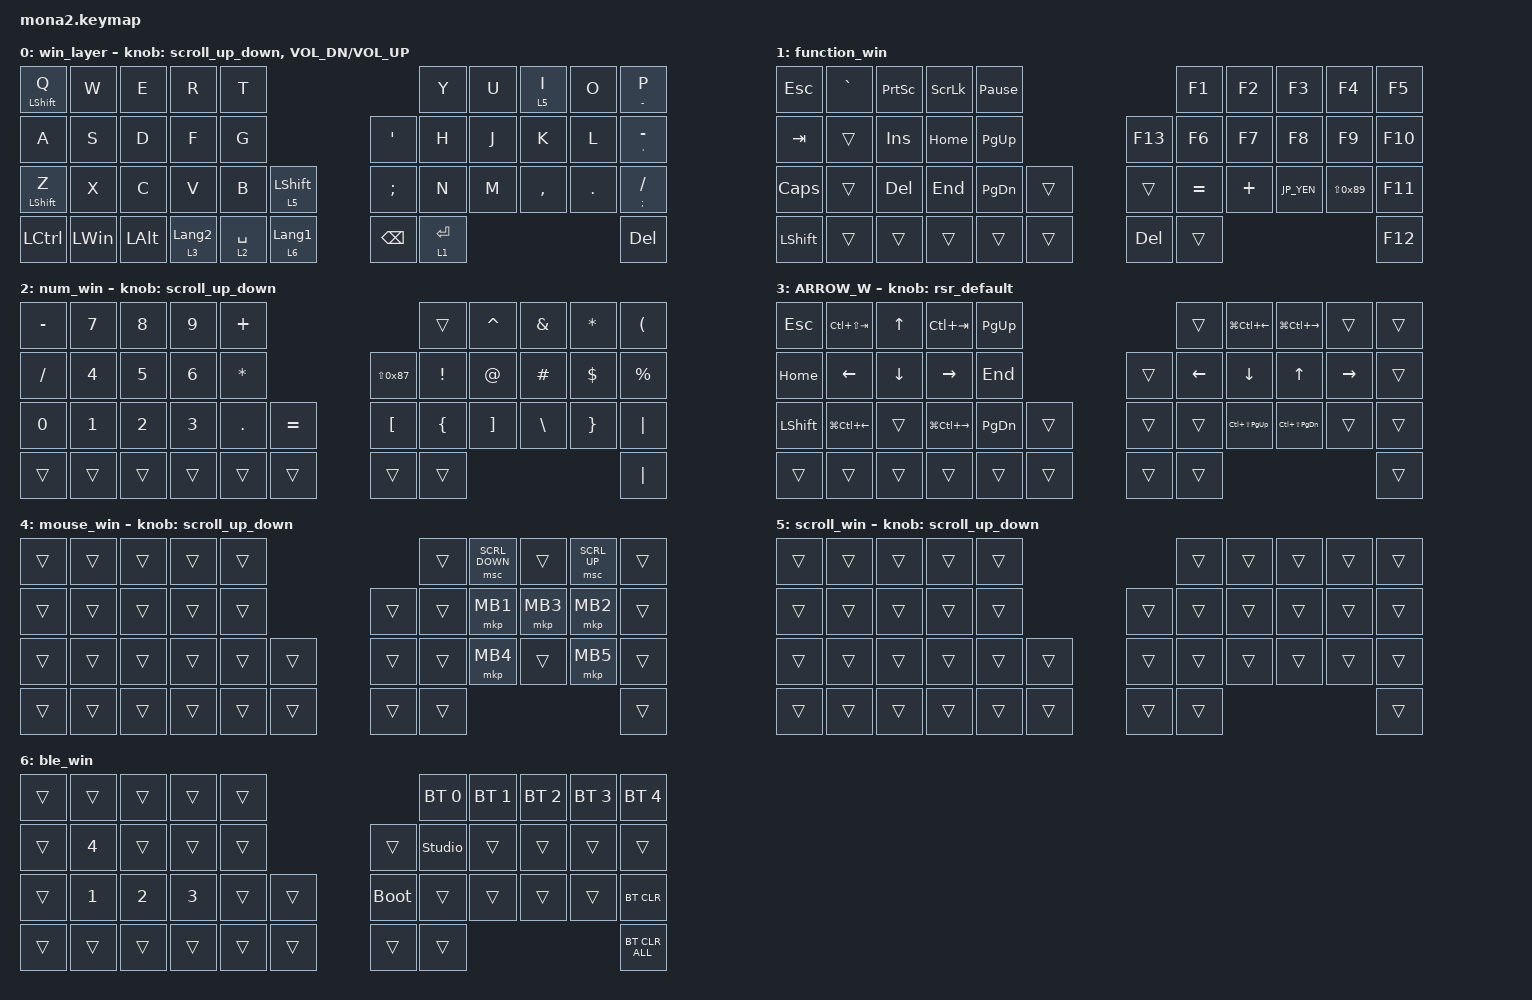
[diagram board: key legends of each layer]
#include <input/processors.dtsi>
#include <dt-bindings/zmk/input_transform.h>
#include <zephyr/dt-bindings/input/input-event-codes.h>
#include <behaviors.dtsi>
#include <dt-bindings/zmk/bt.h>
#include <dt-bindings/zmk/keys.h>
#include <dt-bindings/zmk/pointing.h>

#define ZMK_POINTING_DEFAULT_SCRL_VAL 100
#define MOUSE 4
#define SCROLL 5

// OS設定を日本語キーボードのまま使用するための変換定義

#define JP_DQUOTE       AT                // "
#define JP_AMPERSAND    CARET             // &
#define JP_QUOTE        AMPERSAND         // '
#define JP_EQUAL        UNDER             // =
#define JP_CARET        EQUAL             // ^
#define JP_YEN          0x89              // ¥
#define JP_PLUS         COLON             // +
#define JP_TILDE        PLUS              // ~
#define JP_PIPE         LS(0x89)          // |
#define JP_AT           LEFT_BRACKET      // @
#define JP_COLON        SINGLE_QUOTE      // :
#define JP_ASTERISK     DOUBLE_QUOTES     // *
#define JP_BACKQUOTE    LEFT_BRACE        // `
#define JP_UNDERSCORE   LS(0x87)          // _
#define JP_LBRACKET     RIGHT_BRACKET     // [
#define JP_RBRACKET     BACKSLASH         // ]
#define JP_LPAREN       ASTERISK          // (
#define JP_RPAREN       LEFT_PARENTHESIS  // )
#define JP_LBRACE       RIGHT_BRACE       // {
#define JP_RBRACE       PIPE              // }
#define JP_KANA         LANGUAGE_1        // かな
#define JP_EISU         LANGUAGE_2        // 英数
#define JP_HANZEN       GRAVE             // 半角/全角

&mt {
    flavor = "balanced";
    quick-tap-ms = <0>;
};

&lt {
    quick-tap-ms = <300>;
    flavor = "balanced";
};

/ {
    combos {
        compatible = "zmk,combos";

        layer4_ESC {
            bindings = <&lt 4 ESC>;
            key-positions = <39 38>;
        };

        tab {
            bindings = <&kp TAB>;
            key-positions = <11 12>;
        };

        shift_tab {
            bindings = <&kp LS(TAB)>;
            key-positions = <12 13>;
        };

        double_quotation {
            bindings = <&kp DOUBLE_QUOTES>;
            key-positions = <20 21>;
        };

        eq {
            bindings = <&kp EQUAL>;
            key-positions = <24 25>;
        };
    };

    macros {
        to_layer_0: to_layer_0 {
            compatible = "zmk,behavior-macro-one-param";
            #binding-cells = <1>;
            bindings = <&to 0 &macro_param_1to1 &kp MACRO_PLACEHOLDER>;
            label = "TO_LAYER_0";
        };
    };

    behaviors {
        lt_to_layer_0: lt_to_layer_0 {
            compatible = "zmk,behavior-hold-tap";
            label = "LAYER_TAP_TO_0";
            bindings = <&mo>, <&to_layer_0>;

            #binding-cells = <2>;
            tapping-term-ms = <200>;
        };

        scroll_up_down: mouse_wheel_up_down {
            compatible = "zmk,behavior-sensor-rotate";
            #sensor-binding-cells = <0>;
            bindings = <&msc SCRL_DOWN>, <&msc SCRL_UP>;

            tap-ms = <20>;
        };

        scroll_right_left: mouse_wheel_right_left {
            compatible = "zmk,behavior-sensor-rotate";
            #sensor-binding-cells = <0>;
            bindings = <&msc SCRL_LEFT>, <&msc SCRL_RIGHT>;

            tap-ms = <20>;
        };
    };

    keymap {
        compatible = "zmk,keymap";

        win_layer {
            bindings = <
&mt LEFT_SHIFT Q  &kp W         &kp E         &kp R                        &kp T                                                        &kp Y        &kp U  &lt 5 I    &kp O    &mt MINUS P
&kp A             &kp S         &kp D         &kp F                        &kp G                                         &kp JP_COLON   &kp H        &kp J  &kp K      &kp L    &mt JP_COLON MINUS
&mt LEFT_SHIFT Z  &kp X         &kp C         &kp V                        &kp B        &lt 5 LEFT_SHIFT                 &kp SEMICOLON  &kp N        &kp M  &kp COMMA  &kp DOT  &mt SEMICOLON SLASH
&kp LCTRL         &kp LEFT_WIN  &kp LEFT_ALT  &lt_to_layer_0 3 LANGUAGE_2  &lt 2 SPACE  &lt_to_layer_0 6 LANGUAGE_1      &kp BACKSPACE  &lt 1 ENTER                             &kp DEL
            >;

            sensor-bindings =
                <&scroll_up_down>,
                <&inc_dec_kp C_VOL_DN C_VOL_UP>;
        };

        function_win {
            bindings = <
&kp ESCAPE      &kp JP_HANZEN  &kp PRINTSCREEN  &kp SCROLLLOCK  &kp PAUSE_BREAK                       &kp F1        &kp F2        &kp F3      &kp F4       &kp F5
&kp TAB         &trans         &kp INSERT       &kp HOME        &kp PAGE_UP                  &kp F13  &kp F6        &kp F7        &kp F8      &kp F9       &kp F10
&kp CAPS        &trans         &kp DELETE       &kp END         &kp PAGE_DOWN    &trans      &trans   &kp JP_CARET  &kp JP_TILDE  &kp JP_YEN  &kp JP_PIPE  &kp F11
&kp LEFT_SHIFT  &trans         &trans           &trans          &trans           &trans      &kp DEL  &trans                                               &kp F12
            >;
        };

        num_win {
            bindings = <
&kp MINUS     &kp NUMBER_7  &kp NUMBER_8  &kp NUMBER_9  &kp PLUS                                                      &trans            &kp CARET        &kp JP_QUOTE     &kp JP_LPAREN  &kp JP_RPAREN
&kp SLASH     &kp NUMBER_4  &kp NUMBER_5  &kp NUMBER_6  &kp ASTERISK                               &kp JP_UNDERSCORE  &kp EXCLAMATION   &kp AT_SIGN      &kp HASH         &kp DOLLAR     &kp PERCENT
&kp NUMBER_0  &kp NUMBER_1  &kp NUMBER_2  &kp NUMBER_3  &kp PERIOD    &kp EQUAL                    &kp JP_AT          &kp JP_BACKQUOTE  &kp JP_LBRACKET  &kp JP_RBRACKET  &kp JP_LBRACE  &kp JP_RBRACE
&trans        &trans        &trans        &trans        &trans        &trans                       &trans             &trans                                                             &kp PIPE
            >;

            sensor-bindings = <&scroll_up_down>;
        };

    arrow_win{
      display-name = "ARROW_W";
      bindings = <
&kp ESCAPE      &kp LC(LS(TAB))         &kp UP_ARROW    &kp LC(TAB)              &kp PAGE_UP                        &trans          &kp LG(LC(LEFT_ARROW))  &kp LG(LC(RIGHT_ARROW))  &trans           &trans
&kp HOME        &kp LEFT_ARROW          &kp DOWN_ARROW  &kp RIGHT_ARROW          &kp END                    &trans  &kp LEFT_ARROW  &kp DOWN_ARROW          &kp UP_ARROW             &kp RIGHT_ARROW  &trans
&kp LEFT_SHIFT  &kp LG(LC(LEFT_ARROW))  &trans          &kp LG(LC(RIGHT_ARROW))  &kp PAGE_DOWN  &trans      &trans  &trans          &kp LC(LS(PG_UP))       &kp LC(LS(PG_DN))        &trans           &trans
&trans          &trans                  &trans          &trans                   &trans         &trans      &trans  &trans                                                                            &trans
            >;

      sensor-bindings = <&rsr_default>;
    };

        mouse_win {
            bindings = <
&trans  &trans  &trans  &trans  &trans                      &trans  &msc SCRL_DOWN  &trans    &msc SCRL_UP  &trans
&trans  &trans  &trans  &trans  &trans              &trans  &trans  &mkp MB1        &mkp MB3  &mkp MB2      &trans
&trans  &trans  &trans  &trans  &trans  &trans      &trans  &trans  &mkp MB4        &trans    &mkp MB5      &trans
&trans  &trans  &trans  &trans  &trans  &trans      &trans  &trans                                          &trans
            >;

            sensor-bindings = <&scroll_up_down>;
        };

        scroll_win {
            bindings = <
&trans  &trans  &trans  &trans  &trans                      &trans  &trans  &trans  &trans  &trans
&trans  &trans  &trans  &trans  &trans              &trans  &trans  &trans  &trans  &trans  &trans
&trans  &trans  &trans  &trans  &trans  &trans      &trans  &trans  &trans  &trans  &trans  &trans
&trans  &trans  &trans  &trans  &trans  &trans      &trans  &trans                          &trans
            >;

            sensor-bindings = <&scroll_up_down>;
        };

        ble_win {
            bindings = <
&trans  &trans        &trans        &trans        &trans                           &bt BT_SEL 0  &bt BT_SEL 1  &bt BT_SEL 2  &bt BT_SEL 3  &bt BT_SEL 4
&trans  &kp NUMBER_4  &trans        &trans        &trans              &trans       &studio_unlock &trans        &trans        &trans        &trans
&trans  &kp NUMBER_1  &kp NUMBER_2  &kp NUMBER_3  &trans  &trans      &bootloader  &trans         &trans        &trans        &trans        &bt BT_CLR
&trans  &trans        &trans        &trans        &trans  &trans      &trans       &trans                                                   &bt BT_CLR_ALL
            >;
        };

    };
};
